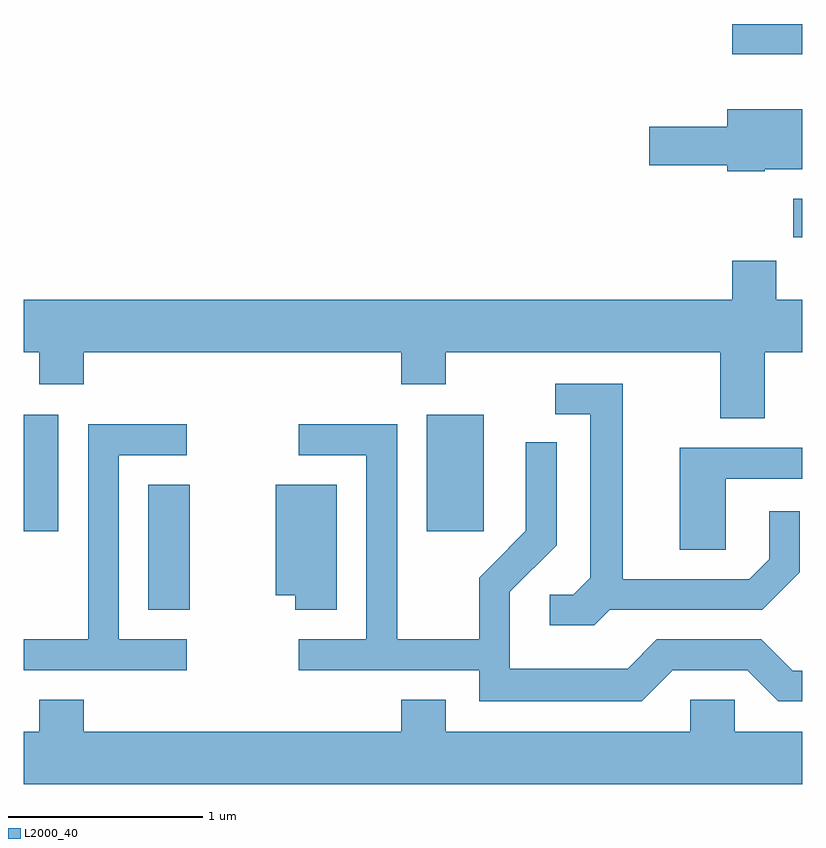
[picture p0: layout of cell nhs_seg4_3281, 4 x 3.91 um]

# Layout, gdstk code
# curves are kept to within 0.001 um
import gdstk
lib = gdstk.Library(unit=1e-6, precision=1e-09)
def R(c, l, rs):  # rectangles x0, y0, x1, y1
    for r in rs: c.add(gdstk.rectangle(r[:2], r[2:], *l))
def P(c, l, *ps):  # polygons
    for p in ps: c.add(gdstk.Polygon(p, *l))
L2000_40 = (2000, 40)

nhs_seg4_3281 = lib.new_cell('nhs_seg4_3281')
R(nhs_seg4_3281, L2000_40, [(282.251,1288.971,282.464,1289.614), (281.611,1289.376,281.789,1289.974), (283.681,1289.376,283.974,1289.974), (285.566,1290.886,285.611,1291.084), (285.251,1291.826,285.611,1291.982)])
P(nhs_seg4_3281, L2000_40, [(285.42,1291.236),(285.611,1291.236),(285.611,1291.544),(285.226,1291.544),(285.226,1291.454),(284.826,1291.454),(284.826,1291.256),(285.226,1291.256),(285.226,1291.226),(285.42,1291.226)],
  [(285.419,1290.296),(285.611,1290.296),(285.611,1290.564),(285.479,1290.564),(285.479,1290.764),(285.251,1290.764),(285.251,1290.564),(281.611,1290.564),(281.611,1290.296),(281.691,1290.296),(281.691,1290.131),(281.919,1290.131),(281.919,1290.296),(283.551,1290.296),(283.551,1290.131),(283.779,1290.131),(283.779,1290.296),(285.191,1290.296),(285.191,1289.956),(285.419,1289.956)],
  [(284.622,1288.971),(285.407,1288.971),(285.599,1289.164),(285.599,1289.478),(285.441,1289.478),(285.441,1289.232),(285.339,1289.129),(284.689,1289.129),(284.689,1290.134),(284.343,1290.134),(284.343,1289.976),(284.521,1289.976),(284.521,1289.137),(284.434,1289.049),(284.313,1289.049),(284.313,1288.891),(284.542,1288.891)],
  [(284.947,1288.661),(285.329,1288.661),(285.489,1288.501),(285.611,1288.501),(285.611,1288.659),(285.562,1288.659),(285.402,1288.819),(284.864,1288.819),(284.714,1288.669),(284.109,1288.669),(284.109,1289.064),(284.349,1289.304),(284.349,1289.833),(284.191,1289.833),(284.191,1289.377),(283.951,1289.137),(283.951,1288.819),(283.529,1288.819),(283.529,1289.924),(283.023,1289.924),(283.023,1289.766),(283.371,1289.766),(283.371,1288.819),(283.023,1288.819),(283.023,1288.661),(283.951,1288.661),(283.951,1288.501),(284.787,1288.501)],
  [(282.448,1288.819),(282.099,1288.819),(282.099,1289.766),(282.448,1289.766),(282.448,1289.924),(281.941,1289.924),(281.941,1288.819),(281.611,1288.819),(281.611,1288.661),(282.448,1288.661)],
  [(285.219,1289.646),(285.611,1289.646),(285.611,1289.804),(284.981,1289.804),(284.981,1289.281),(285.219,1289.281)],
  [(283.219,1289.614),(282.906,1289.614),(282.906,1289.046),(283.006,1289.046),(283.006,1288.971),(283.219,1288.971)],
  [(285.611,1288.344),(285.264,1288.344),(285.264,1288.509),(285.036,1288.509),(285.036,1288.344),(283.779,1288.344),(283.779,1288.509),(283.551,1288.509),(283.551,1288.344),(281.919,1288.344),(281.919,1288.509),(281.691,1288.509),(281.691,1288.344),(281.611,1288.344),(281.611,1288.076),(285.611,1288.076)])

lib.write_gds('nhs_seg4_3281.gds')
